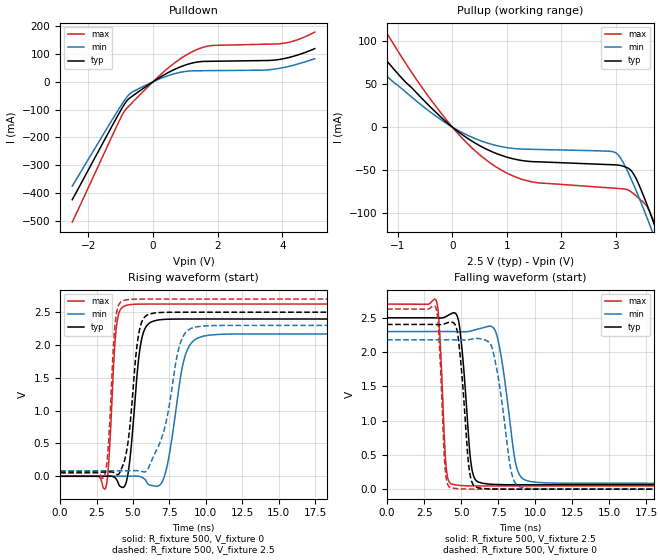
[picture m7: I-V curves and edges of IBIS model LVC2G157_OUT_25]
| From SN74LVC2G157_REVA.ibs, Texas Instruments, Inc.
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[Model]   LVC2G157_OUT_25
Model_type  Output
Vref =   0
Rref =   500
Cref =   30p
Vmeas =   1.25
| variable   typ   min   max
C_comp   9.71pF   6.17pF   14.70pF
| C_pullup   9.39pF   6.17pF   11.05pF
| C_pulldown   10.02pF   6.58pF   14.70pF
[Temperature Range]   40   100   -40
| Ambient temperature   25   85   -40
[Voltage range]   2.5   2.3   2.7
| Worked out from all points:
|   slope of the pulldown table from 0 to 0.375 V, typ, clamps not added: 13.9 ohm
|   slope of the pullup table from 0 to 0.375 V, typ, clamps not added: 22.2 ohm
|   rising waveform, R_fixture 500, V_fixture 0: 20-80 % time 571ps typ, 888ps min, 367ps max; typ from 0 V to 2.4 V
|   falling waveform, R_fixture 500, V_fixture 2.5: 20-80 % time 506ps typ, 796ps min, 326ps max; typ from 2.5 V to 0.063 V
|   rising waveform, R_fixture 500, V_fixture 2.5: 20-80 % time 611ps typ, 1.18ns min, 373ps max; typ from 0.063 V to 2.5 V
|   falling waveform, R_fixture 500, V_fixture 0: 20-80 % time 506ps typ, 828ps min, 320ps max; typ from 2.4 V to 0 V
[Pulldown]
| LVC2G157_OUT_25
|   Voltage   I(typ)   I(min)   I(max)
-2.5V     -423.8mA   -374.7mA   -504.6mA
-900mV    -83.31mA   -69.6mA    -107.9mA
-780mV    -64.42mA   -50.73mA   -91.1mA
-625mV    -50.16mA   -35.79mA   -72.59mA
125mV     9.48mA     6.528mA    14.01mA
590mV     40.15mA    26.41mA    60.88mA
1.15V     65.36mA    38.83mA    104.2mA
1.65V     73.22mA    39.77mA    126.8mA
3.41V     76.05mA    41.66mA    134.7mA
3.995V    81.88mA    50.05mA    137.4mA
4.47V     95.98mA    63.45mA    151mA
5V        118.9mA    82.47mA    178.4mA
[Pullup]
| LVC2G157_OUT_25
|   Voltage   I(typ)   I(min)   I(max)
-2.5V     184.4mA    145.2mA    258.3mA
-2.065V   146.4mA    114.6mA    205.8mA
-1.655V   112.2mA    87.22mA    158.5mA
-1.285V   83.12mA    64.1mA     117.9mA
45mV      -2.273mA   -1.669mA   -3.327mA
1.03V     -35.39mA   -24.09mA   -54.31mA
1.545V    -40.27mA   -25.93mA   -64.48mA
2.975V    -43.81mA   -28.98mA   -70.99mA
3.32V     -53.5mA    -65.41mA   -76.9mA
3.655V    -103.6mA   -118.3mA   -102.4mA
3.785V    -126.3mA   -140mA     -125.3mA
5V        -356.5mA   -355.8mA   -379.1mA
[Ramp]
| LVC2G157_OUT_25
| variable   typ   min   max
dV/dt_r   1.54/6.12E-10   1.39/9.52E-10   1.69/3.94E-10
dV/dt_f   1.51/5.29E-10   1.38/8.32E-10   1.64/3.42E-10
R_load = 500
[Rising Waveform]
| LVC2G157_OUT_25
R_fixture =   500
C_fixture =   0
L_fixture =   0
V_fixture =   0
V_fixture_min = 0
V_fixture_max = 0
|   Time   V(typ)   V(min)   V(max)
0s        129pV      6.207nV    595.7pV
3.125ns   537.2uV    -27.68uV   -175.7mV
3.84ns    -38.89mV   -13.02uV   2.229V
4.44ns    -145.4mV   250.6uV    2.596V
5.51ns    1.99V      -6.047mV   2.623V
6.295ns   2.355V     -140.7mV   2.624V
7.165ns   2.391V     5.052mV    2.624V
8.475ns   2.396V     1.75V      2.624V
9.485ns   2.396V     2.11V      2.624V
29.99ns   2.396V     2.17V      2.624V
[Falling Waveform]
| LVC2G157_OUT_25
R_fixture =   500
C_fixture =   0
L_fixture =   0
V_fixture =   2.5
V_fixture_min = 2.3
V_fixture_max = 2.7
|   Time   V(typ)   V(min)   V(max)
0s        2.5V       2.3V       2.7V
3.335ns   2.498V     2.3V       2.742V
3.965ns   2.517V     2.3V       378.4mV
4.365ns   2.564V     2.3V       74.94mV
4.86ns    2.418V     2.298V     55.64mV
5.65ns    401.2mV    2.307V     48.35mV
6.18ns    102.1mV    2.339V     47.33mV
7.375ns   68.09mV    2.269V     46.86mV
9.315ns   63.81mV    133.2mV    46.81mV
29.99ns   63.48mV    83.95mV    46.77mV
[Rising Waveform]
| LVC2G157_OUT_25
R_fixture =   500
C_fixture =   0
L_fixture =   0
V_fixture =   2.5
V_fixture_min = 2.3
V_fixture_max = 2.7
|   Time   V(typ)   V(min)   V(max)
0s        63.44mV    83.88mV    46.75mV
3.075ns   63.78mV    83.86mV    34.36mV
3.315ns   65.27mV    83.84mV    485.5mV
3.775ns   45.42mV    83.88mV    2.324V
4.285ns   155.5mV    83.95mV    2.672V
5.385ns   2.16V      83.66mV    2.699V
6.075ns   2.467V     133.4mV    2.7V
8.22ns    2.5V       2.007V     2.7V
9.015ns   2.5V       2.256V     2.7V
29.99ns   2.5V       2.3V       2.7V
[Falling Waveform]
| LVC2G157_OUT_25
R_fixture =   500
C_fixture =   0
L_fixture =   0
V_fixture =   0
V_fixture_min = 0
V_fixture_max = 0
|   Time   V(typ)   V(min)   V(max)
0s        2.403V     2.179V     2.628V
3.29ns    2.402V     2.179V     2.65V
3.91ns    2.413V     2.179V     332.7mV
4.275ns   2.436V     2.179V     22.26mV
4.765ns   2.272V     2.177V     6.993mV
5.52ns    331mV      2.181V     1.247mV
6.005ns   29.6mV     2.198V     482.2uV
7.095ns   3.201mV    2.055V     105.1uV
8.935ns   246.9uV    36.19mV    55.34uV
29.99ns   33.91uV    56.47uV    21.27uV
